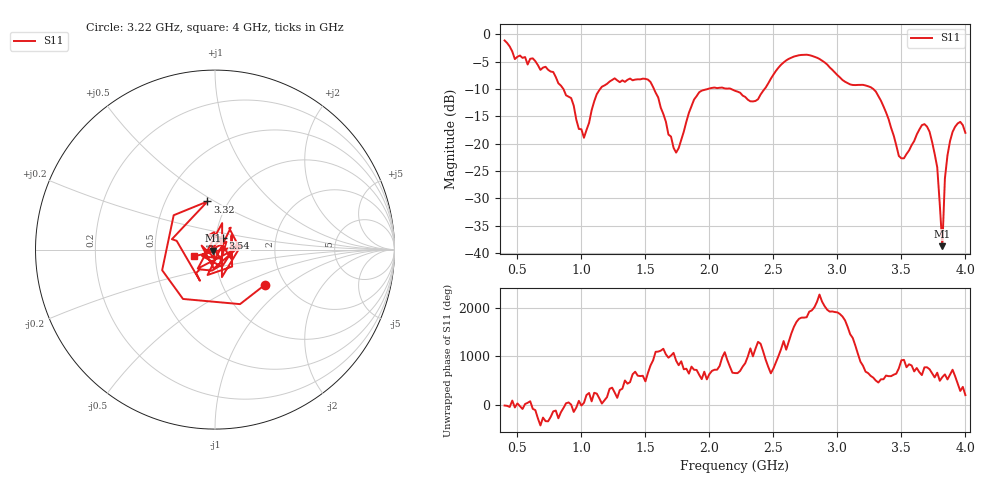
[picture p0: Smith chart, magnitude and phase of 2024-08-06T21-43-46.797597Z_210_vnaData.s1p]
!Created with skrf (http://scikit-rf.org).
# Hz S RI R 50.0
!freq ReS11 ImS11
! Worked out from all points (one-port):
!   181 points, 400 MHz to 4 GHz, reference 50 ohm
!   lowest |S11| = -38.8 dB at 3.82 GHz (marker M1), VSWR 1.02, Z = 49 - j0.6 ohm
!   |S11| at or under -10 dB: 858.9 MHz to 1.147 GHz (288.3 MHz wide, 28.7 % of centre); 1.567 GHz to 1.99 GHz (423 MHz wide, 23.8 % of centre); 3.28 GHz to end of sweep (the widest 3 of 4)
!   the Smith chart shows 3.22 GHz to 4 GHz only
!   S11 on the Smith chart (normalised r, x): 3.22 GHz: 1.58, -0.70; 3.32 GHz: 0.80, +0.46; 3.54 GHz: 1.08, +0.15; 4 GHz: 0.78, -0.06
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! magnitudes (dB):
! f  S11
! 400 MHz  -1.1
! 480 MHz  -4.5
! 860 MHz  -10.0
! 1.02 GHz  -18.9
! 1.14 GHz  -10.2
! 1.3 GHz  -8.8
! 1.54 GHz  -8.7
! 1.72 GHz  -20.8
! 1.76 GHz  -20.8
! 1.92 GHz  -10.6
! 2.2 GHz  -10.3
! 2.36 GHz  -12.2
! 2.66 GHz  -4.1
! 2.86 GHz  -4.5
! 3.1 GHz  -9.2
! 3.22 GHz  -9.4
! 3.32 GHz  -11.3
! 3.48 GHz  -22.3
! 3.54 GHz  -21.9
! 3.56 GHz  -21.3
! 3.66 GHz  -16.6
! 3.72 GHz  -17.8
! 3.78 GHz  -24.3
! 3.82 GHz  -38.8
! 3.84 GHz  -26.4
! 3.88 GHz  -19.5
! 3.96 GHz  -16.0
! 4 GHz  -18.0
